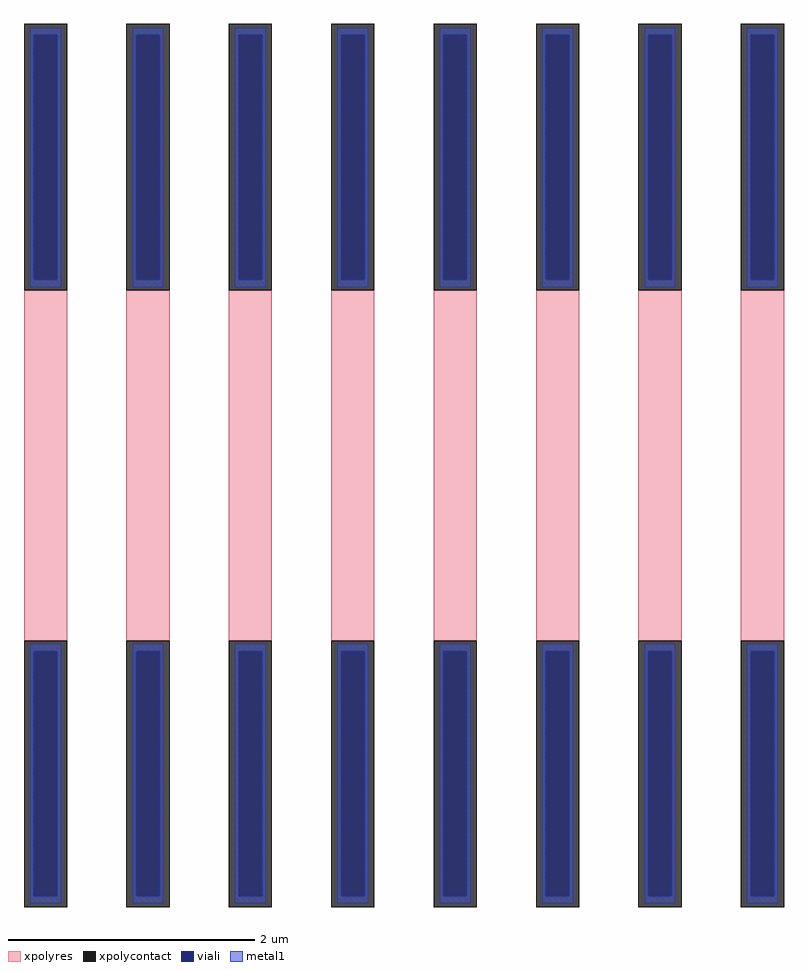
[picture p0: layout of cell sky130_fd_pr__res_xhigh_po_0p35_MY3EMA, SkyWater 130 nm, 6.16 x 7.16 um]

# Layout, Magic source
magic
tech sky130A
magscale 1 2
<< xpolycontact >>
rect -616 284 -546 716
rect -616 -716 -546 -284
rect -450 284 -380 716
rect -450 -716 -380 -284
rect -284 284 -214 716
rect -284 -716 -214 -284
rect -118 284 -48 716
rect -118 -716 -48 -284
rect 48 284 118 716
rect 48 -716 118 -284
rect 214 284 284 716
rect 214 -716 284 -284
rect 380 284 450 716
rect 380 -716 450 -284
rect 546 284 616 716
rect 546 -716 616 -284
<< xpolyres >>
rect -616 -284 -546 284
rect -450 -284 -380 284
rect -284 -284 -214 284
rect -118 -284 -48 284
rect 48 -284 118 284
rect 214 -284 284 284
rect 380 -284 450 284
rect 546 -284 616 284
<< viali >>
rect -600 301 -562 698
rect -434 301 -396 698
rect -268 301 -230 698
rect -102 301 -64 698
rect 64 301 102 698
rect 230 301 268 698
rect 396 301 434 698
rect 562 301 600 698
rect -600 -698 -562 -301
rect -434 -698 -396 -301
rect -268 -698 -230 -301
rect -102 -698 -64 -301
rect 64 -698 102 -301
rect 230 -698 268 -301
rect 396 -698 434 -301
rect 562 -698 600 -301
<< metal1 >>
rect -606 698 -556 710
rect -606 301 -600 698
rect -562 301 -556 698
rect -606 289 -556 301
rect -440 698 -390 710
rect -440 301 -434 698
rect -396 301 -390 698
rect -440 289 -390 301
rect -274 698 -224 710
rect -274 301 -268 698
rect -230 301 -224 698
rect -274 289 -224 301
rect -108 698 -58 710
rect -108 301 -102 698
rect -64 301 -58 698
rect -108 289 -58 301
rect 58 698 108 710
rect 58 301 64 698
rect 102 301 108 698
rect 58 289 108 301
rect 224 698 274 710
rect 224 301 230 698
rect 268 301 274 698
rect 224 289 274 301
rect 390 698 440 710
rect 390 301 396 698
rect 434 301 440 698
rect 390 289 440 301
rect 556 698 606 710
rect 556 301 562 698
rect 600 301 606 698
rect 556 289 606 301
rect -606 -301 -556 -289
rect -606 -698 -600 -301
rect -562 -698 -556 -301
rect -606 -710 -556 -698
rect -440 -301 -390 -289
rect -440 -698 -434 -301
rect -396 -698 -390 -301
rect -440 -710 -390 -698
rect -274 -301 -224 -289
rect -274 -698 -268 -301
rect -230 -698 -224 -301
rect -274 -710 -224 -698
rect -108 -301 -58 -289
rect -108 -698 -102 -301
rect -64 -698 -58 -301
rect -108 -710 -58 -698
rect 58 -301 108 -289
rect 58 -698 64 -301
rect 102 -698 108 -301
rect 58 -710 108 -698
rect 224 -301 274 -289
rect 224 -698 230 -301
rect 268 -698 274 -301
rect 224 -710 274 -698
rect 390 -301 440 -289
rect 390 -698 396 -301
rect 434 -698 440 -301
rect 390 -710 440 -698
rect 556 -301 606 -289
rect 556 -698 562 -301
rect 600 -698 606 -301
rect 556 -710 606 -698
<< properties >>
string gencell sky130_fd_pr__res_xhigh_po_0p35
string library sky130
string parameters w 0.35 l 3.0 m 1 nx 8 wmin 0.350 lmin 0.50 rho 2000 val 18.218k dummy 0 dw 0.0 term 188.2 sterm 0.0 caplen 0 wmax 0.350 guard 0 glc 0 grc 0 gtc 0 gbc 0 compatible {sky130_fd_pr__res_xhigh_po_0p35  sky130_fd_pr__res_xhigh_po_0p69 sky130_fd_pr__res_xhigh_po_1p41  sky130_fd_pr__res_xhigh_po_2p85 sky130_fd_pr__res_xhigh_po_5p73} snake 0 full_metal 0 n_guard 0 hv_guard 0 vias 1 viagb 0 viagt 0 viagl 0 viagr 0
<< end >>
